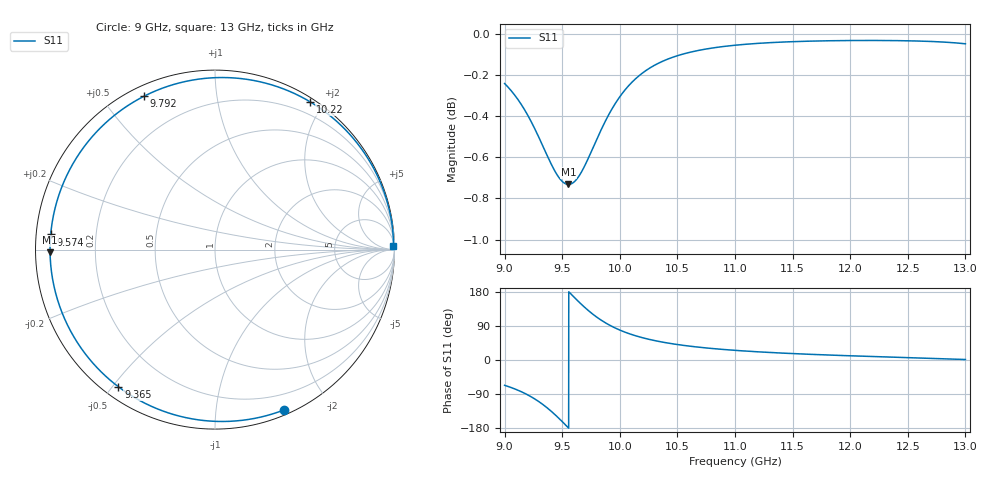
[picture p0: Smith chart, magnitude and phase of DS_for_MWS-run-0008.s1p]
! TOUCHSTONE file generated by CST DESIGN STUDIO
! Date and time: Wed Feb  5 13:30:13 2025
! Project name: C:\Work\MatlabApps\UnitCellOptimizationMatlab\CST\unitcell.cst
! Tree item: Tasks\Sweep1\SPara1\S-Parameters
! Header version: 2024
! Port assignment regex: !\s*Touchstone port\s*([0-9]+)\s*=\s*(CST MWS port|CST DES external port|CST DES block port)\s*(.+)\s* \(\"(.*)\"\)(\s*mode\s*([0-9]+))?.*
! Touchstone port assignment:
! Touchstone port 1 = CST DES external port 1 ("")
# GHz S MA R 50
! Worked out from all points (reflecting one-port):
!   4001 points, 9 GHz to 13 GHz, reference 50 ohm
!   lowest |S11| = -0.7 dB at 9.554 GHz (marker M1), VSWR 23.73, Z = 2.11 - j0.396 ohm
!   phase of S11 starts at -67 deg and turns -292 deg over the sweep
!   S11 on the Smith chart (normalised r, x): 9 GHz: 0.05, -1.52; 9.365 GHz: 0.04, -0.52; 9.574 GHz: 0.04, +0.05; 9.792 GHz: 0.04, +0.64; 10.22 GHz: 0.05, +1.83; 13 GHz: 22, +85
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9  0.9726 -66.8
9.041  0.9698 -71.0
9.107  0.9647 -78.6
9.219  0.9534 -95.1
9.296  0.9439 -109.6
9.365  0.9347 -125.2
9.43  0.9267 -142.1
9.5  0.9207 -162.5
9.554  0.9191 -179.1
9.574  0.9194 174.7
9.628  0.922 158.2
9.689  0.928 140.6
9.74  0.9345 127.2
9.792  0.9416 114.9
9.837  0.9476 105.4
9.885  0.9535 96.4
9.938  0.9595 87.7
10  0.9654 79.0
10.102  0.973 67.3
10.216  0.9792 57.3
10.347  0.984 48.5
10.5  0.9878 40.8
10.721  0.9912 32.7
11  0.9936 25.5
11.5  0.9956 17.0
12  0.9962 11.1
12.5  0.9961 6.3
13  0.9944 1.3
